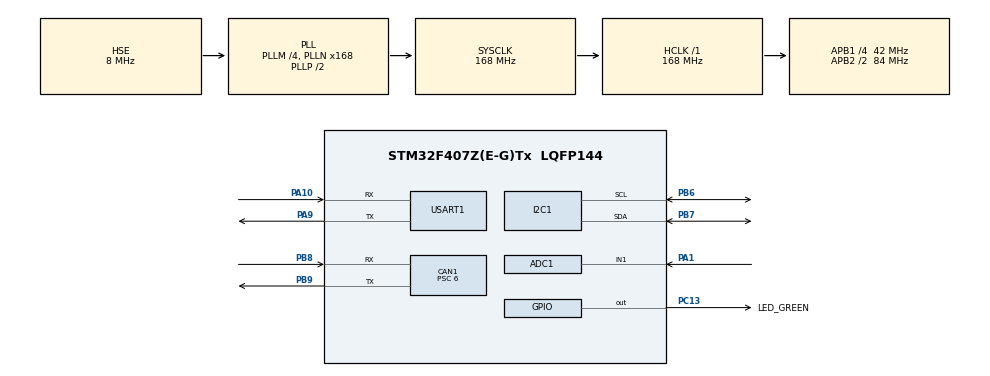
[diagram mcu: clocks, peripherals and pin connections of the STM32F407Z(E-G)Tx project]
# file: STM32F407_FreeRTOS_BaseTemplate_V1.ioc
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ADC1.Channel-0\#ChannelRegularConversion=ADC_CHANNEL_1
ADC1.ContinuousConvMode=ENABLE
ADC1.NbrOfConversionFlag=1
ADC1.Rank-0\#ChannelRegularConversion=1
ADC1.SamplingTime-0\#ChannelRegularConversion=ADC_SAMPLETIME_3CYCLES
ADC1.master=1
CAN1.ABOM=ENABLE
CAN1.AWUM=ENABLE
CAN1.BS1=CAN_BS1_11TQ
CAN1.BS2=CAN_BS2_2TQ
CAN1.CalculateBaudRate=500000
CAN1.CalculateTimeBit=2000
CAN1.CalculateTimeQuantum=142.85714285714286
CAN1.NART=ENABLE
CAN1.Prescaler=6
FREERTOS.Tasks01=defaultTask,24,128,StartDefaultTask,Default,NULL,Dynamic,NULL,NULL
Mcu.Family=STM32F4
Mcu.Name=STM32F407Z(E-G)Tx
Mcu.Package=LQFP144
NVIC.PriorityGroup=NVIC_PRIORITYGROUP_4
NVIC.TIM6_DAC_IRQn=true\:15\:0\:false\:false\:true\:false\:false\:true\:true
NVIC.TimeBase=TIM6_DAC_IRQn
NVIC.TimeBaseIP=TIM6
PA1.Signal=ADCx_IN1
PA10.Mode=Asynchronous
PA10.Signal=USART1_RX
PA13.Mode=Serial_Wire
PA13.Signal=SYS_JTMS-SWDIO
PA14.Mode=Serial_Wire
PA14.Signal=SYS_JTCK-SWCLK
PA9.Mode=Asynchronous
PA9.Signal=USART1_TX
PB6.GPIO_Pu=GPIO_PULLUP
PB6.Mode=I2C
PB6.Signal=I2C1_SCL
PB7.GPIO_Pu=GPIO_PULLUP
PB7.Mode=I2C
PB7.Signal=I2C1_SDA
PB8.GPIO_Speed=GPIO_SPEED_FREQ_HIGH
PB8.Mode=CAN_Activate
PB8.Signal=CAN1_RX
PB9.GPIO_Speed=GPIO_SPEED_FREQ_HIGH
PB9.Mode=CAN_Activate
PB9.Signal=CAN1_TX
PC13-ANTI_TAMP.GPIO_Label=LED_GREEN
PC13-ANTI_TAMP.PinState=GPIO_PIN_SET
PC13-ANTI_TAMP.Signal=GPIO_Output
PH0-OSC_IN.Mode=HSE-External-Oscillator
PH0-OSC_IN.Signal=RCC_OSC_IN
PH1-OSC_OUT.Mode=HSE-External-Oscillator
PH1-OSC_OUT.Signal=RCC_OSC_OUT
ProjectManager.HeapSize=0x200
ProjectManager.StackSize=0x400
ProjectManager.TargetToolchain=MDK-ARM V5.32
RCC.48MHZClocksFreq_Value=84000000
RCC.AHBFreq_Value=168000000
RCC.APB1CLKDivider=RCC_HCLK_DIV4
RCC.APB1Freq_Value=42000000
RCC.APB1TimFreq_Value=84000000
RCC.APB2CLKDivider=RCC_HCLK_DIV2
RCC.APB2Freq_Value=84000000
RCC.APB2TimFreq_Value=168000000
RCC.CortexFreq_Value=168000000
RCC.HCLKFreq_Value=168000000
RCC.HSE_VALUE=8000000
RCC.HSI_VALUE=16000000
RCC.LSE_VALUE=32768
RCC.PLLM=4
RCC.PLLN=168
RCC.PLLSourceVirtual=RCC_PLLSOURCE_HSE
RCC.SYSCLKFreq_VALUE=168000000
RCC.SYSCLKSource=RCC_SYSCLKSOURCE_PLLCLK
RCC.VCOOutputFreq_Value=336000000
SH.ADCx_IN1.0=ADC1_IN1,IN1
USART1.VirtualMode=VM_ASYNC
VP_FREERTOS_VS_CMSIS_V2.Mode=CMSIS_V2
VP_SYS_VS_tim6.Mode=TIM6
board=custom

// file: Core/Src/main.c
/* USER CODE BEGIN Header */
/**
  ******************************************************************************
  * @file           : main.c
  * @brief          : Main program body
  ******************************************************************************
  * @attention
  *
  * Copyright (c) 2026 STMicroelectronics.
  * All rights reserved.
  *
  * This software is licensed under terms that can be found in the LICENSE file
  * in the root directory of this software component.
  * If no LICENSE file comes with this software, it is provided AS-IS.
  *
  ******************************************************************************
  */
/* USER CODE END Header */
#include "main.h"
#include "cmsis_os.h"
#include "adc.h"
#include "can.h"
#include "i2c.h"
#include "usart.h"
#include "gpio.h"

void SystemClock_Config(void);
void MX_FREERTOS_Init(void);

/* USER CODE BEGIN 0 */
#include "stdio.h"
#include "usart.h"

// 重定向 printf 到串口 1
int fputc(int ch, FILE *f) {
  // 发送数据，最后一个参数 100 是超时时间 (ms)
  HAL_UART_Transmit(&huart1, (uint8_t *)&ch, 1, 100);
  return ch;
}
/* USER CODE END 0 */

int main(void)
{

  /* MCU Configuration--------------------------------------------------------*/

  /* Reset of all peripherals, Initializes the Flash interface and the Systick. */
  HAL_Init();

  /* Configure the system clock */
  SystemClock_Config();

  /* Initialize all configured peripherals */
  MX_GPIO_Init();
  MX_USART1_UART_Init();
  MX_ADC1_Init();
  MX_I2C1_Init();
  MX_CAN1_Init();

  /* Init scheduler */
  osKernelInitialize();  /* Call init function for freertos objects (in cmsis_os2.c) */
  MX_FREERTOS_Init();

  /* Start scheduler */
  osKernelStart();

  /* We should never get here as control is now taken by the scheduler */

  /* Infinite loop */
  while (1)
  {

  }
}

void SystemClock_Config(void)
{
  RCC_OscInitTypeDef RCC_OscInitStruct = {0};
  RCC_ClkInitTypeDef RCC_ClkInitStruct = {0};

  /** Configure the main internal regulator output voltage
  */
  __HAL_RCC_PWR_CLK_ENABLE();
  __HAL_PWR_VOLTAGESCALING_CONFIG(PWR_REGULATOR_VOLTAGE_SCALE1);

  /** Initializes the RCC Oscillators according to the specified parameters
  * in the RCC_OscInitTypeDef structure.
  */
  RCC_OscInitStruct.OscillatorType = RCC_OSCILLATORTYPE_HSE;
  RCC_OscInitStruct.HSEState = RCC_HSE_ON;
  RCC_OscInitStruct.PLL.PLLState = RCC_PLL_ON;
  RCC_OscInitStruct.PLL.PLLSource = RCC_PLLSOURCE_HSE;
  RCC_OscInitStruct.PLL.PLLM = 4;
  RCC_OscInitStruct.PLL.PLLN = 168;
  RCC_OscInitStruct.PLL.PLLP = RCC_PLLP_DIV2;
  RCC_OscInitStruct.PLL.PLLQ = 4;
  if (HAL_RCC_OscConfig(&RCC_OscInitStruct) != HAL_OK)
  {
    Error_Handler();
  }

  /** Initializes the CPU, AHB and APB buses clocks
  */
  RCC_ClkInitStruct.ClockType = RCC_CLOCKTYPE_HCLK|RCC_CLOCKTYPE_SYSCLK
                              |RCC_CLOCKTYPE_PCLK1|RCC_CLOCKTYPE_PCLK2;
  RCC_ClkInitStruct.SYSCLKSource = RCC_SYSCLKSOURCE_PLLCLK;
  RCC_ClkInitStruct.AHBCLKDivider = RCC_SYSCLK_DIV1;
  RCC_ClkInitStruct.APB1CLKDivider = RCC_HCLK_DIV4;
  RCC_ClkInitStruct.APB2CLKDivider = RCC_HCLK_DIV2;

  if (HAL_RCC_ClockConfig(&RCC_ClkInitStruct, FLASH_LATENCY_5) != HAL_OK)
  {
    Error_Handler();
  }
}

void HAL_TIM_PeriodElapsedCallback(TIM_HandleTypeDef *htim)
{
  if (htim->Instance == TIM6)
  {
    HAL_IncTick();
  }
}

void Error_Handler(void)
{
  __disable_irq();
  while (1)
  {
  }
}

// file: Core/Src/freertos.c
/* USER CODE BEGIN Header */
/**
  ******************************************************************************
  * File Name          : freertos.c
  * Description        : Code for freertos applications
  ******************************************************************************
  * @attention
  *
  * Copyright (c) 2026 STMicroelectronics.
  * All rights reserved.
  *
  * This software is licensed under terms that can be found in the LICENSE file
  * in the root directory of this software component.
  * If no LICENSE file comes with this software, it is provided AS-IS.
  *
  ******************************************************************************
  */
/* USER CODE END Header */

#include "FreeRTOS.h"
#include "task.h"
#include "main.h"
#include "cmsis_os.h"

/* USER CODE BEGIN Includes */
#include "stdio.h"
#include "adc.h"
#include "i2c.h"
#include "aht20.h"
#include "can.h"
#include "string.h"
/* USER CODE END Includes */

/* USER CODE BEGIN Variables */
/* 定义四个任务的句柄 */
osThreadId_t myLedTaskHandle;
osThreadId_t myPrintTaskHandle;
osThreadId_t myAdcTaskHandle;
osThreadId_t myI2cTaskHandle;

/* 定义互斥锁句柄 */
osMutexId_t printfMutexHandle;

/* 定义互斥锁属性 */
const osMutexAttr_t printfMutex_attributes = {
  .name = "printfMutex"
};

/* 定义任务属性 */
const osThreadAttr_t LedTask_attributes = {
  .name = "LedTask",
  .stack_size = 128 * 4,
  .priority = (osPriority_t) osPriorityNormal,
};

const osThreadAttr_t PrintTask_attributes = {
  .name = "PrintTask",
  .stack_size = 128 * 4,
  .priority = (osPriority_t) osPriorityNormal,
};

const osThreadAttr_t AdcTask_attributes = { .name = "AdcTask", .stack_size = 128 * 4, .priority = (osPriority_t) osPriorityNormal };
const osThreadAttr_t I2cTask_attributes = { .name = "I2cTask", .stack_size = 128 * 4, .priority = (osPriority_t) osPriorityNormal };

/* AHT20传感器状态标志 */
uint8_t aht20_init_ok = 0;

/* CAN ID定义 */
#define CAN_ID_THROTTLE  0x100  // 油门ADC数据
#define CAN_ID_TEMP_HUM  0x101  // 温湿度数据

/* 全局共享采样数据 */
uint32_t g_adc_throttle_value = 0;
float g_aht20_temperature = 0.0f;
float g_aht20_humidity = 0.0f;

/* 传感器数据互斥锁 */
osMutexId_t sensorDataMutexHandle;
const osMutexAttr_t sensorDataMutex_attributes = {
  .name = "sensorDataMutex"
};

/* CAN发送任务属性 */
const osThreadAttr_t CanTxTask_attributes = {
  .name = "CanTxTask",
  .stack_size = 128 * 4,
  .priority = (osPriority_t) osPriorityAboveNormal, // 发送任务优先级高于采样任务
};
/* USER CODE END Variables */
/* Definitions for defaultTask */
osThreadId_t defaultTaskHandle;
const osThreadAttr_t defaultTask_attributes = {
  .name = "defaultTask",
  .stack_size = 128 * 4,
  .priority = (osPriority_t) osPriorityNormal,
};

/* USER CODE BEGIN FunctionPrototypes */
void StartLedTask(void *argument);
void StartPrintTask(void *argument);
void StartAdcTask(void *argument);
void StartI2cTask(void *argument);
void StartCanTxTask(void *argument);
/* USER CODE END FunctionPrototypes */

void StartDefaultTask(void *argument);

void MX_FREERTOS_Init(void); /* (MISRA C 2004 rule 8.1) */

void MX_FREERTOS_Init(void) {

  /* USER CODE BEGIN RTOS_MUTEX */
  /* 创建互斥锁 */
  printfMutexHandle = osMutexNew(&printfMutex_attributes);
  /* 创建传感器数据互斥锁 */
  sensorDataMutexHandle = osMutexNew(&sensorDataMutex_attributes);
  /* USER CODE END RTOS_MUTEX */

  /* Create the thread(s) */
  /* creation of defaultTask */
  defaultTaskHandle = osThreadNew(StartDefaultTask, NULL, &defaultTask_attributes);

  /* USER CODE BEGIN RTOS_THREADS */
  /* add threads, ... */
  myLedTaskHandle = osThreadNew(StartLedTask, NULL, &LedTask_attributes);
  myPrintTaskHandle = osThreadNew(StartPrintTask, NULL, &PrintTask_attributes);
  myAdcTaskHandle = osThreadNew(StartAdcTask, NULL, &AdcTask_attributes);
  myI2cTaskHandle = osThreadNew(StartI2cTask, NULL, &I2cTask_attributes);
  /* 创建CAN发送任务 */
  osThreadNew(StartCanTxTask, NULL, &CanTxTask_attributes);
  /* USER CODE END RTOS_THREADS */

}

void StartDefaultTask(void *argument)
{
  for(;;)
  {
    osDelay(1);
  }
}

/* USER CODE BEGIN Application */
/* --- 任务 1：LED 闪烁 --- */
void StartLedTask(void *argument)
{
  for(;;)
  {
    HAL_GPIO_TogglePin(LED_GREEN_GPIO_Port, LED_GREEN_Pin);

    // 加锁打印，保证串口数据不乱序
    if(osMutexAcquire(printfMutexHandle, osWaitForever) == osOK)
    {
      printf("Led Task: PC13 Toggled!\r\n");
      osMutexRelease(printfMutexHandle);
    }

    osDelay(500);
  }
}

/* --- 任务 2：串口打印任务 --- */
void StartPrintTask(void *argument)
{
  for(;;)
  {
    if(osMutexAcquire(printfMutexHandle, osWaitForever) == osOK)
    {
      printf("--- Print Task: System Running Smoothly ---\r\n");
      osMutexRelease(printfMutexHandle);
    }
    osDelay(1000);
  }
}

/* --- 任务 3：电位器读取 (ADC) --- */
void StartAdcTask(void *argument) {
  uint32_t adc_value;
  for(;;) {
    HAL_ADC_Start(&hadc1);
    if(HAL_ADC_PollForConversion(&hadc1, 10) == HAL_OK) {
       adc_value = HAL_ADC_GetValue(&hadc1);

       // 更新全局ADC油门值
       if(osMutexAcquire(sensorDataMutexHandle, osWaitForever) == osOK) {
         g_adc_throttle_value = adc_value;
         osMutexRelease(sensorDataMutexHandle);
       }

       if(osMutexAcquire(printfMutexHandle, osWaitForever) == osOK) {
         printf("ADC Value: %lu\r\n", adc_value);
         osMutexRelease(printfMutexHandle);
       }
    }
    osDelay(200); // 200ms 刷新一次
  }
}

/* --- 任务 4：温湿度读取 (I2C) --- */
void StartI2cTask(void *argument) {
  AHT20_DataTypeDef aht20_data;

  // 先打印，确认任务已经启动
  if(osMutexAcquire(printfMutexHandle, osWaitForever) == osOK) {
    printf("I2C Task: Started!\r\n");
    osMutexRelease(printfMutexHandle);
  }

  osDelay(1000); // 等待系统稳定

  // 首次启动：尝试初始化AHT20
  if(osMutexAcquire(printfMutexHandle, osWaitForever) == osOK) {
    printf("I2C Task: Initializing AHT20...\r\n");
    osMutexRelease(printfMutexHandle);
  }

  // 初始化AHT20传感器
  aht20_init_ok = (AHT20_Init(&hi2c1) == 0) ? 1 : 0;

  if (aht20_init_ok) {
    if(osMutexAcquire(printfMutexHandle, osWaitForever) == osOK) {
      printf("I2C Task: AHT20 Init OK!\r\n");
      osMutexRelease(printfMutexHandle);
    }
  } else {
    if(osMutexAcquire(printfMutexHandle, osWaitForever) == osOK) {
      printf("I2C Task: AHT20 Init Failed!\r\n");
      osMutexRelease(printfMutexHandle);
    }
  }

  for(;;) {
    if (aht20_init_ok) {
      // 读取温湿度数据
      if (AHT20_ReadData(&hi2c1, &aht20_data) == 0) {
        // 更新全局温湿度值
        if(osMutexAcquire(sensorDataMutexHandle, osWaitForever) == osOK) {
          g_aht20_temperature = aht20_data.temperature;
          g_aht20_humidity = aht20_data.humidity;
          osMutexRelease(sensorDataMutexHandle);
        }

        if(osMutexAcquire(printfMutexHandle, osWaitForever) == osOK) {
          printf("Temp: %.1f C, Humidity: %.1f %%\r\n", aht20_data.temperature, aht20_data.humidity);
          osMutexRelease(printfMutexHandle);
        }
      } else {
        if(osMutexAcquire(printfMutexHandle, osWaitForever) == osOK) {
          printf("I2C Task: Read Failed!\r\n");
          osMutexRelease(printfMutexHandle);
        }
      }
    }
    osDelay(2000); // 2秒采样一次温湿度
  }
}

/**
* @brief  CAN发送任务函数
* @param  argument: Not used
* @retval None
*/
void StartCanTxTask(void *argument) {
  CAN_TxHeaderTypeDef TxHeader;
  uint8_t TxData[8];
  uint32_t TxMailbox;
  uint32_t throttle_send_tick = osKernelGetTickCount();
  uint32_t aht20_send_tick = osKernelGetTickCount();

  // 开启CAN外设
  if(HAL_CAN_Start(&hcan1) != HAL_OK) {
    if(osMutexAcquire(printfMutexHandle, osWaitForever) == osOK) {
      printf("CAN Start Failed!\r\n");
      osMutexRelease(printfMutexHandle);
    }
  }

  // 配置CAN发送帧头通用参数
  TxHeader.ExtId = 0x00;
  TxHeader.RTR = CAN_RTR_DATA;
  TxHeader.IDE = CAN_ID_STD;
  TxHeader.TransmitGlobalTime = DISABLE;

  for(;;) {
    /* 油门数据发送：200ms周期 */
    if(osKernelGetTickCount() - throttle_send_tick >= 200) {
      throttle_send_tick = osKernelGetTickCount();

      // 读取全局ADC值
      uint32_t adc_val;
      if(osMutexAcquire(sensorDataMutexHandle, osWaitForever) == osOK) {
        adc_val = g_adc_throttle_value;
        osMutexRelease(sensorDataMutexHandle);
      }

      // 封装CAN帧：ID=0x100，长度4字节，存储ADC值（大端模式，和F103解析匹配）
      TxHeader.StdId = CAN_ID_THROTTLE;
      TxHeader.DLC = 4;
      TxData[0] = (uint8_t)(adc_val >> 24);
      TxData[1] = (uint8_t)(adc_val >> 16);
      TxData[2] = (uint8_t)(adc_val >> 8);
      TxData[3] = (uint8_t)(adc_val & 0xFF);

      // 发送CAN帧
      if(HAL_CAN_AddTxMessage(&hcan1, &TxHeader, TxData, &TxMailbox) != HAL_OK) {
        if(osMutexAcquire(printfMutexHandle, osWaitForever) == osOK) {
          printf("CAN Throttle Send Failed! Error Code: 0x%X\r\n", hcan1.Instance->ESR);
          osMutexRelease(printfMutexHandle);
        }
      }
    }

    /* 温湿度数据发送：2s周期 */
    if(osKernelGetTickCount() - aht20_send_tick >= 2000) {
      aht20_send_tick = osKernelGetTickCount();

      // 读取全局温湿度值
      float temp, humi;
      if(osMutexAcquire(sensorDataMutexHandle, osWaitForever) == osOK) {
        temp = g_aht20_temperature;
        humi = g_aht20_humidity;
        osMutexRelease(sensorDataMutexHandle);
      }

      // 封装CAN帧：ID=0x101，长度8字节，前4字节温度，后4字节湿度
      TxHeader.StdId = CAN_ID_TEMP_HUM;
      TxHeader.DLC = 8;
      // 温度放大10倍转int16传输，和F103解析逻辑匹配
      int16_t temp_int = (int16_t)(temp * 10.0f + 0.5f);
      uint16_t humi_int = (uint16_t)(humi * 10.0f + 0.5f);
      TxData[0] = (uint8_t)(temp_int >> 8);
      TxData[1] = (uint8_t)(temp_int & 0xFF);
      TxData[2] = (uint8_t)(humi_int >> 8);
      TxData[3] = (uint8_t)(humi_int & 0xFF);
      // 保留后4字节可扩展使用
      TxData[4] = 0x00;
      TxData[5] = 0x00;
      TxData[6] = 0x00;
      TxData[7] = 0x00;

      // 发送CAN帧
      if(HAL_CAN_AddTxMessage(&hcan1, &TxHeader, TxData, &TxMailbox) != HAL_OK) {
        if(osMutexAcquire(printfMutexHandle, osWaitForever) == osOK) {
          printf("CAN AHT20 Send Failed! Error Code: 0x%X\r\n", hcan1.Instance->ESR);
          osMutexRelease(printfMutexHandle);
        }
      }
    }

    osDelay(10); // 10ms调度一次，降低CPU占用
  }
}
/* USER CODE END Application */
